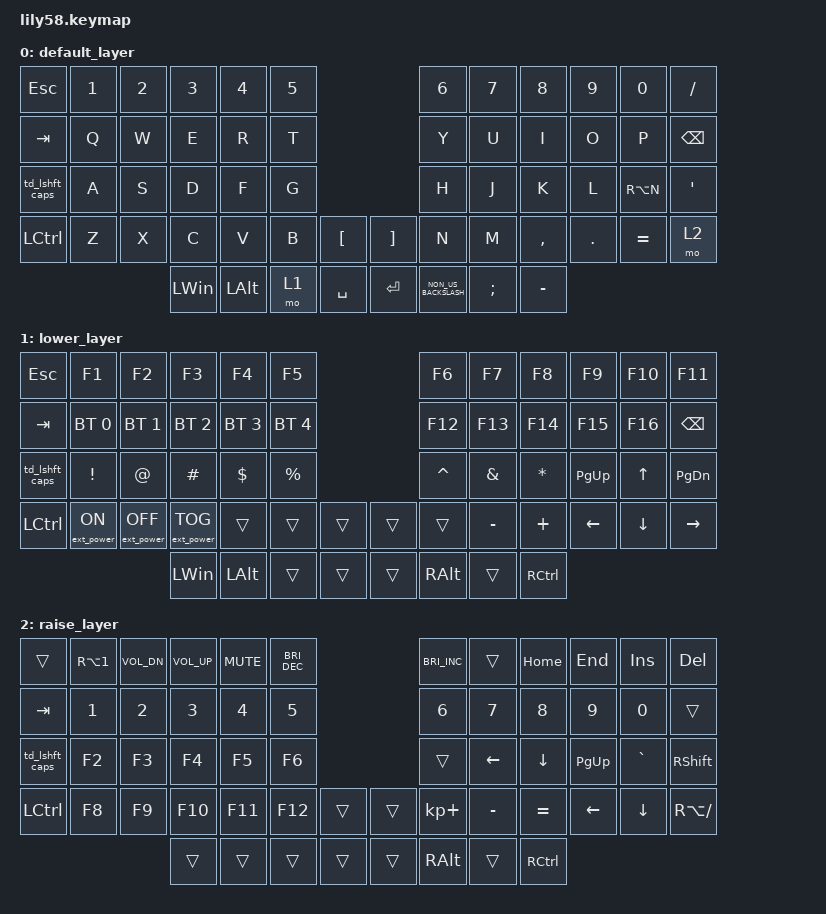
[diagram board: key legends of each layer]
#include <behaviors.dtsi>
#include <dt-bindings/zmk/bt.h>
#include <dt-bindings/zmk/ext_power.h>
#include <dt-bindings/zmk/keys.h>

/ {
    behaviors {
        td_lshft_caps: td_lshft_caps {
            compatible = "zmk,behavior-tap-dance";
            label = "TD_LSHFT_CAPS";
            #binding-cells = <0>;
            tapping-term-ms = <200>;
            bindings = <&kp LSHFT>, <&kp CAPS>;
        };
    };

    keymap {
        compatible = "zmk,keymap";

        default_layer {
            bindings = <
&kp ESC           &kp NUMBER_1  &kp N2  &kp N3        &kp N4        &kp N5                                         &kp N6                &kp N7         &kp N8     &kp N9   &kp N0     &kp SLASH
&kp TAB           &kp Q         &kp W   &kp E         &kp R         &kp T                                          &kp Y                 &kp U          &kp I      &kp O    &kp P      &kp BACKSPACE
&td_lshft_caps    &kp A         &kp S   &kp D         &kp F         &kp G                                          &kp H                 &kp J          &kp K      &kp L    &kp RA(N)  &kp SQT
&kp LEFT_CONTROL  &kp Z         &kp X   &kp C         &kp V         &kp B   &kp LEFT_BRACKET    &kp RIGHT_BRACKET  &kp N                 &kp M          &kp COMMA  &kp DOT  &kp EQUAL  &mo 2
                                        &kp LEFT_WIN  &kp LEFT_ALT  &mo 1   &kp SPACE           &kp ENTER          &kp NON_US_BACKSLASH  &kp SEMICOLON  &kp MINUS
            >;
        };

        lower_layer {
            bindings = <
&kp ESCAPE      &kp F1            &kp F2             &kp F3             &kp F4        &kp F5                          &kp F6         &kp F7     &kp F8             &kp F9       &kp F10         &kp F11
&kp TAB         &bt BT_SEL 0      &bt BT_SEL 1       &bt BT_SEL 2       &bt BT_SEL 3  &bt BT_SEL 4                    &kp F12        &kp F13    &kp F14            &kp F15      &kp F16         &kp BACKSPACE
&td_lshft_caps  &kp EXCL          &kp AT             &kp HASH           &kp DOLLAR    &kp PRCNT                       &kp CARET      &kp AMPS   &kp ASTRK          &kp PAGE_UP  &kp UP          &kp PAGE_DOWN
&kp LCTRL       &ext_power EP_ON  &ext_power EP_OFF  &ext_power EP_TOG  &trans        &trans        &trans    &trans  &trans         &kp MINUS  &kp PLUS           &kp LEFT     &kp DOWN_ARROW  &kp RIGHT
                                                     &kp LEFT_WIN       &kp LEFT_ALT  &trans        &trans    &trans  &kp RIGHT_ALT  &trans     &kp RIGHT_CONTROL
            >;
        };

        raise_layer {
            bindings = <
&trans     &kp RA(NUMBER_1)  &kp C_VOL_DN  &kp C_VOLUME_UP  &kp K_MUTE  &kp C_BRIGHTNESS_DEC                    &kp C_BRIGHTNESS_INC  &trans     &kp HOME           &kp END         &kp INSERT      &kp DELETE
&kp TAB  &kp N1            &kp N2        &kp N3           &kp N4      &kp N5                                  &kp N6                &kp N7     &kp N8             &kp N9          &kp N0          &trans
&td_lshft_caps     &kp F2            &kp F3        &kp F4           &kp F5      &kp F6                                  &trans                &kp LEFT   &kp DOWN           &kp PAGE_UP     &kp GRAVE    &kp RIGHT_SHIFT
&kp LCTRL     &kp F8            &kp F9        &kp F10          &kp F11     &kp F12               &trans    &trans  &kp KP_PLUS           &kp MINUS  &kp EQUAL          &kp LEFT_ARROW  &kp DOWN_ARROW  &kp RA(SLASH)
                                           &trans           &trans      &trans                &trans    &trans  &kp RIGHT_ALT         &trans     &kp RIGHT_CONTROL
            >;
        };
    };
};
